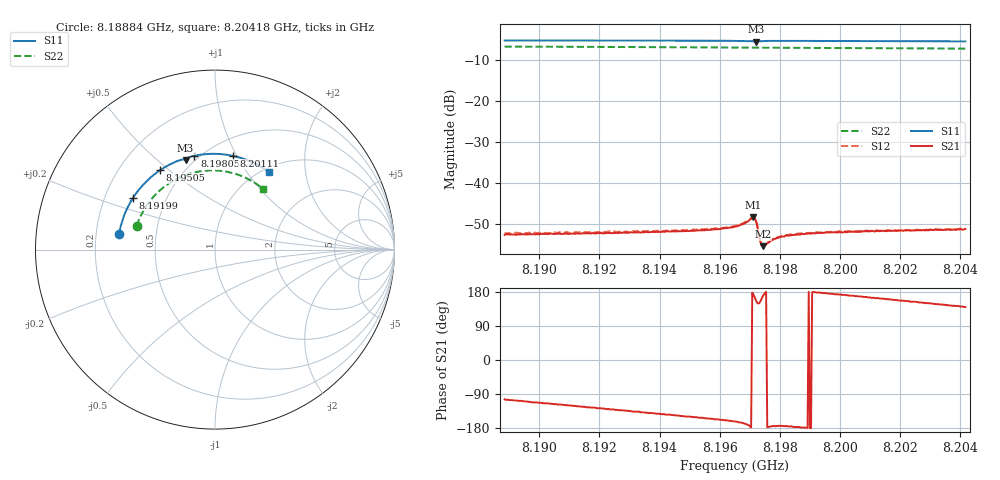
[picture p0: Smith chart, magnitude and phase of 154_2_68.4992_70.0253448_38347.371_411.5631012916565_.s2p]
#  HZ  S  RI  R  50.00
! Rohde & Schwarz Vector Network Analyzer
! Rohde-Schwarz,ZNB20-2Port,1311601062101988,3.16
! Created: UTC 3/20/2024, 4:55:24 PM
! freq[Hz]  re:S11  im:S11  re:S21  im:S21  re:S12  im:S12  re:S22  im:S22
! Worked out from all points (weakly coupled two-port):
!   401 points, 8.18884 GHz to 8.20418 GHz, reference 50 ohm
!   highest |S21| = -48.32 dB at 8.19713 GHz (marker M1); lowest = -55.3 dB at 8.19743 GHz (marker M2)
!   lowest |S11| = -5.6 dB at 8.1972 GHz (marker M3), VSWR 3.20, Z = 22.7 + j31 ohm
!   |S11| at or under -10 dB: nowhere
!   |S22| runs from -7.3 to -6.8 dB; largest |S21 - S12| = 0.00019
!   S11 on the Smith chart (normalised r, x): 8.18884 GHz: 0.30, +0.07; 8.19199 GHz: 0.32, +0.26; 8.19505 GHz: 0.37, +0.47; 8.19805 GHz: 0.47, +0.69; 8.20111 GHz: 0.66, +0.97; 8.20418 GHz: 1.06, +1.28
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8.188841e9  -0.5346 0.086  -0.000565 -0.00228  -0.000664 -0.00235  -0.4364 0.1316
8.191411e9  -0.476 0.2556  -0.00134 -0.00205  -0.00142 -0.00209  -0.3721 0.2581
8.191986e9  -0.4553 0.2903  -0.00149 -0.00197  -0.00159 -0.002  -0.3524 0.2831
8.19398e9  -0.3645 0.3968  -0.002 -0.00157  -0.00207 -0.00155  -0.2713 0.3585
8.195054e9  -0.3047 0.4432  -0.00227 -0.00131  -0.00237 -0.00127  -0.2204 0.3899
8.195975e9  -0.2483 0.4762  -0.00255 -0.00109  -0.00263 -0.000976  -0.1735 0.4114
8.196512e9  -0.2128 0.4921  -0.00282 -0.000906  -0.00291 -0.000793  -0.1452 0.4213
8.196742e9  -0.1967 0.4979  -0.00305 -0.000801  -0.00314 -0.000646  -0.1328 0.425
8.197049e9  -0.1725 0.502  -0.00368 -0.00012  -0.00377 3.42e-05  -0.116 0.4291
8.197126e9  -0.1667 0.5003  -0.00381 0.000494  -0.00384 0.000675  -0.1117 0.4302
8.197202e9  -0.1643 0.497  -0.0033 0.00129  -0.00331 0.00145  -0.1077 0.431
8.197356e9  -0.1639 0.503  -0.00175 0.000837  -0.00176 0.000924  -0.0994 0.4328
8.197394e9  -0.1617 0.5054  -0.00167 0.000569  -0.00169 0.000643  -0.0972 0.4331
8.197432e9  -0.1592 0.5074  -0.00168 0.00037  -0.0017 0.00044  -0.0951 0.4337
8.197509e9  -0.1536 0.5108  -0.00177 0.000121  -0.00176 0.000184  -0.0909 0.4345
8.197778e9  -0.1338 0.518  -0.00204 -0.000195  -0.00212 -0.000106  -0.0759 0.437
8.198046e9  -0.1143 0.5226  -0.00222 -0.000234  -0.00226 -0.000144  -0.061 0.4388
8.198545e9  -0.079 0.529  -0.00235 -0.000137  -0.00241 -4.64e-05  -0.0327 0.441
8.199082e9  -0.041 0.5328  -0.00245 5.2e-05  -0.0025 0.000108  -0.0024 0.4414
8.201115e9  0.1022 0.522  -0.00252 0.000705  -0.00247 0.000832  0.1113 0.4229
8.201652e9  0.1391 0.5128  -0.00248 0.000901  -0.00245 0.00104  0.1404 0.4132
8.204183e9  0.2993 0.4344  -0.00211 0.0018  -0.00204 0.00186  0.2653 0.3398
